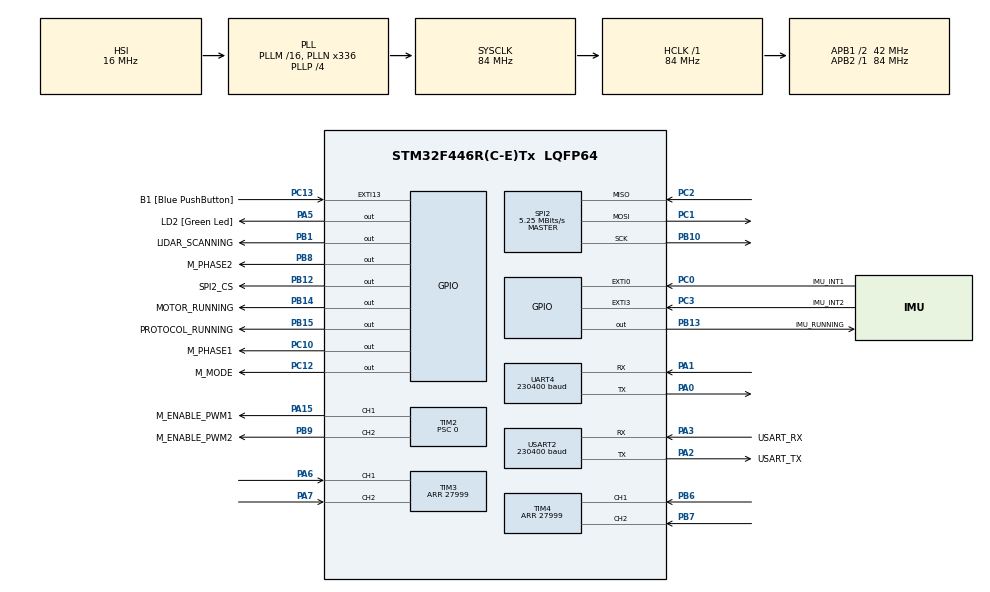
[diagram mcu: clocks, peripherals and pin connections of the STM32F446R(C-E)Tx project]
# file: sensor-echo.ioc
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Dma.Request0=USART2_TX
Dma.Request1=UART4_RX
Dma.UART4_RX.1.Direction=DMA_PERIPH_TO_MEMORY
Dma.UART4_RX.1.FIFOMode=DMA_FIFOMODE_DISABLE
Dma.UART4_RX.1.Instance=DMA1_Stream2
Dma.UART4_RX.1.MemDataAlignment=DMA_MDATAALIGN_BYTE
Dma.UART4_RX.1.MemInc=DMA_MINC_ENABLE
Dma.UART4_RX.1.Mode=DMA_CIRCULAR
Dma.UART4_RX.1.PeriphDataAlignment=DMA_PDATAALIGN_BYTE
Dma.UART4_RX.1.PeriphInc=DMA_PINC_DISABLE
Dma.UART4_RX.1.Priority=DMA_PRIORITY_HIGH
Dma.USART2_TX.0.Direction=DMA_MEMORY_TO_PERIPH
Dma.USART2_TX.0.FIFOMode=DMA_FIFOMODE_DISABLE
Dma.USART2_TX.0.Instance=DMA1_Stream6
Dma.USART2_TX.0.MemDataAlignment=DMA_MDATAALIGN_BYTE
Dma.USART2_TX.0.MemInc=DMA_MINC_ENABLE
Dma.USART2_TX.0.Mode=DMA_NORMAL
Dma.USART2_TX.0.PeriphDataAlignment=DMA_PDATAALIGN_BYTE
Dma.USART2_TX.0.PeriphInc=DMA_PINC_DISABLE
Dma.USART2_TX.0.Priority=DMA_PRIORITY_HIGH
Mcu.Family=STM32F4
Mcu.Name=STM32F446R(C-E)Tx
Mcu.Package=LQFP64
NVIC.DMA1_Stream2_IRQn=true\:0\:0\:false\:false\:true\:false\:true\:true
NVIC.DMA1_Stream6_IRQn=true\:0\:0\:false\:false\:true\:false\:true\:true
NVIC.EXTI0_IRQn=true\:0\:0\:false\:false\:true\:true\:true\:true
NVIC.EXTI3_IRQn=true\:0\:0\:false\:false\:true\:true\:true\:true
NVIC.PriorityGroup=NVIC_PRIORITYGROUP_0
NVIC.SPI2_IRQn=true\:0\:0\:false\:false\:true\:true\:true\:true
NVIC.TIM2_IRQn=true\:0\:0\:false\:false\:true\:true\:true\:true
NVIC.TIM3_IRQn=true\:0\:0\:false\:false\:true\:true\:true\:true
NVIC.TIM4_IRQn=true\:0\:0\:false\:false\:true\:true\:true\:true
NVIC.TIM5_IRQn=true\:0\:0\:false\:false\:true\:true\:true\:true
NVIC.UART4_IRQn=true\:0\:0\:false\:false\:true\:true\:true\:true
NVIC.USART2_IRQn=true\:0\:0\:false\:false\:true\:true\:true\:true
PA0-WKUP.Mode=Asynchronous
PA0-WKUP.Signal=UART4_TX
PA1.Mode=Asynchronous
PA1.Signal=UART4_RX
PA13.GPIO_Label=TMS
PA13.Mode=Serial_Wire
PA13.Signal=SYS_JTMS-SWDIO
PA14.GPIO_Label=TCK
PA14.Mode=Serial_Wire
PA14.Signal=SYS_JTCK-SWCLK
PA15.GPIO_Label=M_ENABLE_PWM1
PA15.Signal=S_TIM2_CH1_ETR
PA2.GPIO_Label=USART_TX
PA2.Mode=Asynchronous
PA2.Signal=USART2_TX
PA3.GPIO_Label=USART_RX
PA3.Mode=Asynchronous
PA3.Signal=USART2_RX
PA5.GPIO_Label=LD2 [Green Led]
PA5.Signal=GPIO_Output
PA6.Signal=S_TIM3_CH1
PA7.Signal=S_TIM3_CH2
PB1.GPIO_Label=LIDAR_SCANNING
PB1.Signal=GPIO_Output
PB10.Mode=Full_Duplex_Master
PB10.Signal=SPI2_SCK
PB12.GPIO_Label=SPI2_CS
PB12.PinState=GPIO_PIN_SET
PB12.Signal=GPIO_Output
PB13.GPIO_Label=IMU_RUNNING
PB13.Signal=GPIO_Output
PB14.GPIO_Label=MOTOR_RUNNING
PB14.Signal=GPIO_Output
PB15.GPIO_Label=PROTOCOL_RUNNING
PB15.Signal=GPIO_Output
PB3.GPIO_Label=SWO
PB3.Signal=SYS_JTDO-SWO
PB6.Signal=S_TIM4_CH1
PB7.Signal=S_TIM4_CH2
PB8.GPIO_Label=M_PHASE2
PB8.Signal=GPIO_Output
PB9.GPIO_Label=M_ENABLE_PWM2
PB9.Signal=S_TIM2_CH2
PC0.GPIO_Label=IMU_INT1
PC0.Signal=GPXTI0
PC1.Mode=Full_Duplex_Master
PC1.Signal=SPI2_MOSI
PC10.GPIO_Label=M_PHASE1
PC10.Signal=GPIO_Output
PC12.GPIO_Label=M_MODE
PC12.Signal=GPIO_Output
PC13.GPIO_Label=B1 [Blue PushButton]
PC13.GPIO_ModeDefaultEXTI=GPIO_MODE_IT_FALLING
PC13.Signal=GPXTI13
PC14-OSC32_IN.Mode=LSE-External-Oscillator
PC14-OSC32_IN.Signal=RCC_OSC32_IN
PC15-OSC32_OUT.Mode=LSE-External-Oscillator
PC15-OSC32_OUT.Signal=RCC_OSC32_OUT
PC2.Mode=Full_Duplex_Master
PC2.Signal=SPI2_MISO
PC3.GPIO_Label=IMU_INT2
PC3.Signal=GPXTI3
PH0-OSC_IN.Mode=HSE-External-Oscillator
PH0-OSC_IN.Signal=RCC_OSC_IN
PH1-OSC_OUT.Mode=HSE-External-Oscillator
PH1-OSC_OUT.Signal=RCC_OSC_OUT
ProjectManager.HeapSize=0x200
ProjectManager.StackSize=0x400
ProjectManager.TargetToolchain=CMake
RCC.48MHZClocksFreq_Value=84000000
RCC.AHBFreq_Value=84000000
RCC.APB1CLKDivider=RCC_HCLK_DIV2
RCC.APB1Freq_Value=42000000
RCC.APB1TimFreq_Value=84000000
RCC.APB2Freq_Value=84000000
RCC.APB2TimFreq_Value=84000000
RCC.CortexFreq_Value=84000000
RCC.FLatency-AdvancedSettings=FLASH_LATENCY_2
RCC.HCLKFreq_Value=84000000
RCC.HSE_VALUE=8000000
RCC.HSI_VALUE=16000000
RCC.PLLN=336
RCC.PLLP=RCC_PLLP_DIV4
RCC.RCC_RTC_Clock_SourceVirtual=RCC_RTCCLKSOURCE_LSE
RCC.SYSCLKFreq_VALUE=84000000
RCC.SYSCLKSource=RCC_SYSCLKSOURCE_PLLCLK
RCC.USBFreq_Value=168000000
RCC.VCOOutputFreq_Value=336000000
SH.S_TIM2_CH1_ETR.0=TIM2_CH1,PWM Generation1 CH1
SH.S_TIM2_CH2.0=TIM2_CH2,PWM Generation2 CH2
SH.S_TIM3_CH1.0=TIM3_CH1,Encoder_Interface
SH.S_TIM3_CH2.0=TIM3_CH2,Encoder_Interface
SH.S_TIM4_CH1.0=TIM4_CH1,Encoder_Interface
SH.S_TIM4_CH2.0=TIM4_CH2,Encoder_Interface
SPI2.BaudRatePrescaler=SPI_BAUDRATEPRESCALER_8
SPI2.CalculateBaudRate=5.25 MBits/s
SPI2.Direction=SPI_DIRECTION_2LINES
SPI2.Mode=SPI_MODE_MASTER
SPI2.VirtualType=VM_MASTER
TIM2.Channel-PWM\ Generation1\ CH1=TIM_CHANNEL_1
TIM2.Channel-PWM\ Generation2\ CH2=TIM_CHANNEL_2
TIM2.Period=4199
TIM2.Prescaler=0
TIM3.EncoderMode=TIM_ENCODERMODE_TI12
TIM3.Period=27999
TIM4.EncoderMode=TIM_ENCODERMODE_TI12
TIM4.Period=27999
TIM5.Period=999
TIM5.Prescaler=8399
UART4.BaudRate=230400
UART4.VirtualMode=Asynchronous
USART2.BaudRate=230400
USART2.VirtualMode=VM_ASYNC
VP_RTC_VS_RTC_Activate.Mode=RTC_Enabled
VP_TIM2_VS_ClockSourceINT.Mode=Internal
VP_TIM5_VS_ClockSourceINT.Mode=Internal
board=NUCLEO-F446RE

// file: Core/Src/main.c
/* USER CODE BEGIN Header */
/**
 ******************************************************************************
 * @file           : main.c
 * @brief          : Main program body
 ******************************************************************************
 * @attention
 *
 * Copyright (c) 2026 STMicroelectronics.
 * All rights reserved.
 *
 * This software is licensed under terms that can be found in the LICENSE file
 * in the root directory of this software component.
 * If no LICENSE file comes with this software, it is provided AS-IS.
 *
 ******************************************************************************
 */
/* USER CODE END Header */
#include "main.h"

/* USER CODE BEGIN Includes */
#include "motor.h"
#include "protocol.h"

/* USER CODE END Includes */

RTC_HandleTypeDef hrtc;

SPI_HandleTypeDef hspi2;

TIM_HandleTypeDef htim2;
TIM_HandleTypeDef htim3;
TIM_HandleTypeDef htim4;
TIM_HandleTypeDef htim5;

UART_HandleTypeDef huart4;
UART_HandleTypeDef huart2;
DMA_HandleTypeDef  hdma_uart4_rx;
DMA_HandleTypeDef  hdma_usart2_tx;

void        SystemClock_Config(void);
static void MX_GPIO_Init(void);
static void MX_DMA_Init(void);
static void MX_USART2_UART_Init(void);
static void MX_TIM2_Init(void);
static void MX_UART4_Init(void);
static void MX_RTC_Init(void);
static void MX_SPI2_Init(void);
static void MX_TIM3_Init(void);
static void MX_TIM4_Init(void);
static void MX_TIM5_Init(void);

int main(void)
{

        /* MCU Configuration--------------------------------------------------------*/

        /* Reset of all peripherals, Initializes the Flash interface and the Systick. */
        HAL_Init();

        /* Configure the system clock */
        SystemClock_Config();

        /* USER CODE BEGIN SysInit */
        // HAL_GetTickやHAL_Delayの基準を補正する。RTCの補正はMX_RTC_Initで別に設定する。
        // 設定上のHCLK[Hz]を1000で割り、1msあたりのクロック数を求める（84MHzなら84000）。
        uint32_t tick_cycles = HAL_RCC_GetHCLKFreq() / 1000u;
        // Macとの約61秒の比較でHAL tickは+3712ppm（+0.3712%）。
        // 1msごとに数えるクロック数を増やして遅くする（84000 + 312 = 84312）。
        // 500000は分母1000000の半分。整数の除算で311.808を312へ四捨五入する。
        // 数値末尾のuは符号なし整数を表す。この補正値は実機の観測に基づく試験値。
        tick_cycles += (tick_cycles * 3712u + 500000u) / 1000000u;
        // 求めた周期をSysTickへ設定する。設定に失敗した場合は停止する。
        if (HAL_SYSTICK_Config(tick_cycles) != 0u)
                Error_Handler();
        // 内部のSysTick_Configで変わる割り込み優先度を、HALの設定値へ戻す。
        HAL_NVIC_SetPriority(SysTick_IRQn, uwTickPrio, 0u);
        /* USER CODE END SysInit */

        /* Initialize all configured peripherals */
        MX_GPIO_Init();
        MX_DMA_Init();
        MX_USART2_UART_Init();
        MX_TIM2_Init();
        MX_UART4_Init();
        MX_RTC_Init();
        MX_SPI2_Init();
        MX_TIM3_Init();
        MX_TIM4_Init();
        MX_TIM5_Init();
        /* USER CODE BEGIN 2 */
        init_motor();

        /* USER CODE END 2 */

        /* Infinite loop */

        /* USER CODE BEGIN 3 */
        loop();
        /* USER CODE END 3 */
}

void SystemClock_Config(void)
{
        RCC_OscInitTypeDef RCC_OscInitStruct = {0};
        RCC_ClkInitTypeDef RCC_ClkInitStruct = {0};

        /** Configure the main internal regulator output voltage
         */
        __HAL_RCC_PWR_CLK_ENABLE();
        __HAL_PWR_VOLTAGESCALING_CONFIG(PWR_REGULATOR_VOLTAGE_SCALE3);

        /** Initializes the RCC Oscillators according to the specified parameters
         * in the RCC_OscInitTypeDef structure.
         */
        RCC_OscInitStruct.OscillatorType =
                RCC_OSCILLATORTYPE_HSI | RCC_OSCILLATORTYPE_LSE;
        RCC_OscInitStruct.LSEState            = RCC_LSE_ON;
        RCC_OscInitStruct.HSIState            = RCC_HSI_ON;
        RCC_OscInitStruct.HSICalibrationValue = RCC_HSICALIBRATION_DEFAULT;
        RCC_OscInitStruct.PLL.PLLState        = RCC_PLL_ON;
        RCC_OscInitStruct.PLL.PLLSource       = RCC_PLLSOURCE_HSI;
        RCC_OscInitStruct.PLL.PLLM            = 16;
        RCC_OscInitStruct.PLL.PLLN            = 336;
        RCC_OscInitStruct.PLL.PLLP            = RCC_PLLP_DIV4;
        RCC_OscInitStruct.PLL.PLLQ            = 2;
        RCC_OscInitStruct.PLL.PLLR            = 2;
        if (HAL_RCC_OscConfig(&RCC_OscInitStruct) != HAL_OK) {
                Error_Handler();
        }

        /** Initializes the CPU, AHB and APB buses clocks
         */
        RCC_ClkInitStruct.ClockType      = RCC_CLOCKTYPE_HCLK | RCC_CLOCKTYPE_SYSCLK |
                                           RCC_CLOCKTYPE_PCLK1 | RCC_CLOCKTYPE_PCLK2;
        RCC_ClkInitStruct.SYSCLKSource   = RCC_SYSCLKSOURCE_PLLCLK;
        RCC_ClkInitStruct.AHBCLKDivider  = RCC_SYSCLK_DIV1;
        RCC_ClkInitStruct.APB1CLKDivider = RCC_HCLK_DIV2;
        RCC_ClkInitStruct.APB2CLKDivider = RCC_HCLK_DIV1;

        if (HAL_RCC_ClockConfig(&RCC_ClkInitStruct, FLASH_LATENCY_2) != HAL_OK) {
                Error_Handler();
        }
}

static void MX_RTC_Init(void)
{

        /** Initialize RTC Only
         */
        hrtc.Instance            = RTC;
        hrtc.Init.HourFormat     = RTC_HOURFORMAT_24;
        hrtc.Init.AsynchPrediv   = 127;
        hrtc.Init.SynchPrediv    = 255;
        hrtc.Init.OutPut         = RTC_OUTPUT_DISABLE;
        hrtc.Init.OutPutPolarity = RTC_OUTPUT_POLARITY_HIGH;
        hrtc.Init.OutPutType     = RTC_OUTPUT_TYPE_OPENDRAIN;
        if (HAL_RTC_Init(&hrtc) != HAL_OK) {
                Error_Handler();
        }
        /* USER CODE BEGIN RTC_Init 2 */
        // 約61秒の観測でLSEのRTCは+19.6ppm。32秒あたり21パルスを除いて約20ppm遅くする試験値。
        // 初回同期の時刻差は変えず、同期後にずれが増える速さを補正する。
        if (HAL_RTCEx_SetSmoothCalib(
                    &hrtc,
                    RTC_SMOOTHCALIB_PERIOD_32SEC,
                    RTC_SMOOTHCALIB_PLUSPULSES_RESET,
                    21u) != HAL_OK)
                Error_Handler();
        /* USER CODE END RTC_Init 2 */
}

static void MX_SPI2_Init(void)
{

        /* SPI2 parameter configuration*/
        hspi2.Instance               = SPI2;
        hspi2.Init.Mode              = SPI_MODE_MASTER;
        hspi2.Init.Direction         = SPI_DIRECTION_2LINES;
        hspi2.Init.DataSize          = SPI_DATASIZE_8BIT;
        hspi2.Init.CLKPolarity       = SPI_POLARITY_LOW;
        hspi2.Init.CLKPhase          = SPI_PHASE_1EDGE;
        hspi2.Init.NSS               = SPI_NSS_SOFT;
        hspi2.Init.BaudRatePrescaler = SPI_BAUDRATEPRESCALER_8;
        hspi2.Init.FirstBit          = SPI_FIRSTBIT_MSB;
        hspi2.Init.TIMode            = SPI_TIMODE_DISABLE;
        hspi2.Init.CRCCalculation    = SPI_CRCCALCULATION_DISABLE;
        hspi2.Init.CRCPolynomial     = 10;
        if (HAL_SPI_Init(&hspi2) != HAL_OK) {
                Error_Handler();
        }
}

static void MX_TIM2_Init(void)
{

        TIM_ClockConfigTypeDef  sClockSourceConfig = {0};
        TIM_MasterConfigTypeDef sMasterConfig      = {0};
        TIM_OC_InitTypeDef      sConfigOC          = {0};

        htim2.Instance               = TIM2;
        htim2.Init.Prescaler         = 0;
        htim2.Init.CounterMode       = TIM_COUNTERMODE_UP;
        htim2.Init.Period            = 4199;
        htim2.Init.ClockDivision     = TIM_CLOCKDIVISION_DIV1;
        htim2.Init.AutoReloadPreload = TIM_AUTORELOAD_PRELOAD_DISABLE;
        if (HAL_TIM_Base_Init(&htim2) != HAL_OK) {
                Error_Handler();
        }
        sClockSourceConfig.ClockSource = TIM_CLOCKSOURCE_INTERNAL;
        if (HAL_TIM_ConfigClockSource(&htim2, &sClockSourceConfig) != HAL_OK) {
                Error_Handler();
        }
        if (HAL_TIM_PWM_Init(&htim2) != HAL_OK) {
                Error_Handler();
        }
        sMasterConfig.MasterOutputTrigger = TIM_TRGO_RESET;
        sMasterConfig.MasterSlaveMode     = TIM_MASTERSLAVEMODE_DISABLE;
        if (HAL_TIMEx_MasterConfigSynchronization(&htim2, &sMasterConfig) != HAL_OK) {
                Error_Handler();
        }
        sConfigOC.OCMode     = TIM_OCMODE_PWM1;
        sConfigOC.Pulse      = 0;
        sConfigOC.OCPolarity = TIM_OCPOLARITY_HIGH;
        sConfigOC.OCFastMode = TIM_OCFAST_DISABLE;
        if (HAL_TIM_PWM_ConfigChannel(&htim2, &sConfigOC, TIM_CHANNEL_1) != HAL_OK) {
                Error_Handler();
        }
        if (HAL_TIM_PWM_ConfigChannel(&htim2, &sConfigOC, TIM_CHANNEL_2) != HAL_OK) {
                Error_Handler();
        }
        HAL_TIM_MspPostInit(&htim2);
}

static void MX_TIM3_Init(void)
{

        TIM_Encoder_InitTypeDef sConfig       = {0};
        TIM_MasterConfigTypeDef sMasterConfig = {0};

        htim3.Instance               = TIM3;
        htim3.Init.Prescaler         = 0;
        htim3.Init.CounterMode       = TIM_COUNTERMODE_UP;
        htim3.Init.Period            = 27999;
        htim3.Init.ClockDivision     = TIM_CLOCKDIVISION_DIV1;
        htim3.Init.AutoReloadPreload = TIM_AUTORELOAD_PRELOAD_DISABLE;
        sConfig.EncoderMode          = TIM_ENCODERMODE_TI12;
        sConfig.IC1Polarity          = TIM_ICPOLARITY_RISING;
        sConfig.IC1Selection         = TIM_ICSELECTION_DIRECTTI;
        sConfig.IC1Prescaler         = TIM_ICPSC_DIV1;
        sConfig.IC1Filter            = 0;
        sConfig.IC2Polarity          = TIM_ICPOLARITY_RISING;
        sConfig.IC2Selection         = TIM_ICSELECTION_DIRECTTI;
        sConfig.IC2Prescaler         = TIM_ICPSC_DIV1;
        sConfig.IC2Filter            = 0;
        if (HAL_TIM_Encoder_Init(&htim3, &sConfig) != HAL_OK) {
                Error_Handler();
        }
        sMasterConfig.MasterOutputTrigger = TIM_TRGO_RESET;
        sMasterConfig.MasterSlaveMode     = TIM_MASTERSLAVEMODE_DISABLE;
        if (HAL_TIMEx_MasterConfigSynchronization(&htim3, &sMasterConfig) != HAL_OK) {
                Error_Handler();
        }
}

static void MX_TIM4_Init(void)
{

        TIM_Encoder_InitTypeDef sConfig       = {0};
        TIM_MasterConfigTypeDef sMasterConfig = {0};

        htim4.Instance               = TIM4;
        htim4.Init.Prescaler         = 0;
        htim4.Init.CounterMode       = TIM_COUNTERMODE_UP;
        htim4.Init.Period            = 27999;
        htim4.Init.ClockDivision     = TIM_CLOCKDIVISION_DIV1;
        htim4.Init.AutoReloadPreload = TIM_AUTORELOAD_PRELOAD_DISABLE;
        sConfig.EncoderMode          = TIM_ENCODERMODE_TI12;
        sConfig.IC1Polarity          = TIM_ICPOLARITY_RISING;
        sConfig.IC1Selection         = TIM_ICSELECTION_DIRECTTI;
        sConfig.IC1Prescaler         = TIM_ICPSC_DIV1;
        sConfig.IC1Filter            = 0;
        sConfig.IC2Polarity          = TIM_ICPOLARITY_RISING;
        sConfig.IC2Selection         = TIM_ICSELECTION_DIRECTTI;
        sConfig.IC2Prescaler         = TIM_ICPSC_DIV1;
        sConfig.IC2Filter            = 0;
        if (HAL_TIM_Encoder_Init(&htim4, &sConfig) != HAL_OK) {
                Error_Handler();
        }
        sMasterConfig.MasterOutputTrigger = TIM_TRGO_RESET;
        sMasterConfig.MasterSlaveMode     = TIM_MASTERSLAVEMODE_DISABLE;
        if (HAL_TIMEx_MasterConfigSynchronization(&htim4, &sMasterConfig) != HAL_OK) {
                Error_Handler();
        }
}

static void MX_TIM5_Init(void)
{

        TIM_ClockConfigTypeDef  sClockSourceConfig = {0};
        TIM_MasterConfigTypeDef sMasterConfig      = {0};

        htim5.Instance               = TIM5;
        htim5.Init.Prescaler         = 8399;
        htim5.Init.CounterMode       = TIM_COUNTERMODE_UP;
        htim5.Init.Period            = 999;
        htim5.Init.ClockDivision     = TIM_CLOCKDIVISION_DIV1;
        htim5.Init.AutoReloadPreload = TIM_AUTORELOAD_PRELOAD_DISABLE;
        if (HAL_TIM_Base_Init(&htim5) != HAL_OK) {
                Error_Handler();
        }
        sClockSourceConfig.ClockSource = TIM_CLOCKSOURCE_INTERNAL;
        if (HAL_TIM_ConfigClockSource(&htim5, &sClockSourceConfig) != HAL_OK) {
                Error_Handler();
        }
        sMasterConfig.MasterOutputTrigger = TIM_TRGO_RESET;
        sMasterConfig.MasterSlaveMode     = TIM_MASTERSLAVEMODE_DISABLE;
        if (HAL_TIMEx_MasterConfigSynchronization(&htim5, &sMasterConfig) != HAL_OK) {
                Error_Handler();
        }
}

static void MX_UART4_Init(void)
{

        huart4.Instance          = UART4;
        huart4.Init.BaudRate     = 230400;
        huart4.Init.WordLength   = UART_WORDLENGTH_8B;
        huart4.Init.StopBits     = UART_STOPBITS_1;
        huart4.Init.Parity       = UART_PARITY_NONE;
        huart4.Init.Mode         = UART_MODE_TX_RX;
        huart4.Init.HwFlowCtl    = UART_HWCONTROL_NONE;
        huart4.Init.OverSampling = UART_OVERSAMPLING_16;
        if (HAL_UART_Init(&huart4) != HAL_OK) {
                Error_Handler();
        }
        /* USER CODE BEGIN UART4_Init 2 */
        // HAL_UART_Receive_IT(huart4, uint8_t* pData, uint16_t Size)

        /* USER CODE END UART4_Init 2 */
}

static void MX_USART2_UART_Init(void)
{

        huart2.Instance          = USART2;
        huart2.Init.BaudRate     = 230400;
        huart2.Init.WordLength   = UART_WORDLENGTH_8B;
        huart2.Init.StopBits     = UART_STOPBITS_1;
        huart2.Init.Parity       = UART_PARITY_NONE;
        huart2.Init.Mode         = UART_MODE_TX_RX;
        huart2.Init.HwFlowCtl    = UART_HWCONTROL_NONE;
        huart2.Init.OverSampling = UART_OVERSAMPLING_16;
        if (HAL_UART_Init(&huart2) != HAL_OK) {
                Error_Handler();
        }
}

static void MX_DMA_Init(void)
{

        /* DMA controller clock enable */
        __HAL_RCC_DMA1_CLK_ENABLE();

        /* DMA interrupt init */
        /* DMA1_Stream2_IRQn interrupt configuration */
        HAL_NVIC_SetPriority(DMA1_Stream2_IRQn, 0, 0);
        HAL_NVIC_EnableIRQ(DMA1_Stream2_IRQn);
        /* DMA1_Stream6_IRQn interrupt configuration */
        HAL_NVIC_SetPriority(DMA1_Stream6_IRQn, 0, 0);
        HAL_NVIC_EnableIRQ(DMA1_Stream6_IRQn);
}

static void MX_GPIO_Init(void)
{
        GPIO_InitTypeDef GPIO_InitStruct = {0};

        /* GPIO Ports Clock Enable */
        __HAL_RCC_GPIOC_CLK_ENABLE();
        __HAL_RCC_GPIOH_CLK_ENABLE();
        __HAL_RCC_GPIOA_CLK_ENABLE();
        __HAL_RCC_GPIOB_CLK_ENABLE();

        /*Configure GPIO pin Output Level */
        HAL_GPIO_WritePin(LD2_GPIO_Port, LD2_Pin, GPIO_PIN_RESET);

        /*Configure GPIO pin Output Level */
        HAL_GPIO_WritePin(
                GPIOB,
                LIDAR_SCANNING_Pin | IMU_RUNNING_Pin | MOTOR_RUNNING_Pin |
                        PROTOCOL_RUNNING_Pin | M_PHASE2_Pin,
                GPIO_PIN_RESET);

        /*Configure GPIO pin Output Level */
        HAL_GPIO_WritePin(SPI2_CS_GPIO_Port, SPI2_CS_Pin, GPIO_PIN_SET);

        /*Configure GPIO pin Output Level */
        HAL_GPIO_WritePin(GPIOC, M_PHASE1_Pin | M_MODE_Pin, GPIO_PIN_RESET);

        /*Configure GPIO pin : B1_Pin */
        GPIO_InitStruct.Pin  = B1_Pin;
        GPIO_InitStruct.Mode = GPIO_MODE_IT_FALLING;
        GPIO_InitStruct.Pull = GPIO_NOPULL;
        HAL_GPIO_Init(B1_GPIO_Port, &GPIO_InitStruct);

        /*Configure GPIO pins : IMU_INT1_Pin IMU_INT2_Pin */
        GPIO_InitStruct.Pin  = IMU_INT1_Pin | IMU_INT2_Pin;
        GPIO_InitStruct.Mode = GPIO_MODE_IT_RISING;
        GPIO_InitStruct.Pull = GPIO_NOPULL;
        HAL_GPIO_Init(GPIOC, &GPIO_InitStruct);

        /*Configure GPIO pin : LD2_Pin */
        GPIO_InitStruct.Pin   = LD2_Pin;
        GPIO_InitStruct.Mode  = GPIO_MODE_OUTPUT_PP;
        GPIO_InitStruct.Pull  = GPIO_NOPULL;
        GPIO_InitStruct.Speed = GPIO_SPEED_FREQ_LOW;
        HAL_GPIO_Init(LD2_GPIO_Port, &GPIO_InitStruct);

        /*Configure GPIO pins : LIDAR_SCANNING_Pin SPI2_CS_Pin IMU_RUNNING_Pin
           MOTOR_RUNNING_Pin PROTOCOL_RUNNING_Pin M_PHASE2_Pin */
        GPIO_InitStruct.Pin   = LIDAR_SCANNING_Pin | SPI2_CS_Pin | IMU_RUNNING_Pin |
                                MOTOR_RUNNING_Pin | PROTOCOL_RUNNING_Pin | M_PHASE2_Pin;
        GPIO_InitStruct.Mode  = GPIO_MODE_OUTPUT_PP;
        GPIO_InitStruct.Pull  = GPIO_NOPULL;
        GPIO_InitStruct.Speed = GPIO_SPEED_FREQ_LOW;
        HAL_GPIO_Init(GPIOB, &GPIO_InitStruct);

        /*Configure GPIO pins : M_PHASE1_Pin M_MODE_Pin */
        GPIO_InitStruct.Pin   = M_PHASE1_Pin | M_MODE_Pin;
        GPIO_InitStruct.Mode  = GPIO_MODE_OUTPUT_PP;
        GPIO_InitStruct.Pull  = GPIO_NOPULL;
        GPIO_InitStruct.Speed = GPIO_SPEED_FREQ_LOW;
        HAL_GPIO_Init(GPIOC, &GPIO_InitStruct);

        /* EXTI interrupt init*/
        HAL_NVIC_SetPriority(EXTI0_IRQn, 0, 0);
        HAL_NVIC_EnableIRQ(EXTI0_IRQn);

        HAL_NVIC_SetPriority(EXTI3_IRQn, 0, 0);
        HAL_NVIC_EnableIRQ(EXTI3_IRQn);

        /* USER CODE BEGIN MX_GPIO_Init_2 */
        HAL_GPIO_WritePin(SPI2_CS_GPIO_Port, SPI2_CS_Pin, 1);

        /* USER CODE END MX_GPIO_Init_2 */
}

void Error_Handler(void)
{
        /* USER CODE BEGIN Error_Handler_Debug */
        PROTOCOL_RUNNING_GPIO_Port->ODR &= ~PROTOCOL_RUNNING_Pin;
        LD2_GPIO_Port->ODR |= LD2_Pin;
        /* User can add his own implementation to report the HAL error return
         * state */
        __disable_irq();
        while (1) {
        }
        /* USER CODE END Error_Handler_Debug */
}
#ifdef USE_FULL_ASSERT
/**
 * @brief  Reports the name of the source file and the source line number
 *         where the assert_param error has occurred.
 * @param  file: pointer to the source file name
 * @param  line: assert_param error line source number
 * @retval None
 */
void assert_failed(uint8_t* file, uint32_t line)
{
        /* USER CODE BEGIN 6 */
        /* User can add his own implementation to report the file name and line
           number, ex: printf("Wrong parameters value: file %s on line %d\r\n",
           file, line) */
        /* USER CODE END 6 */
}
#endif /* USE_FULL_ASSERT */
